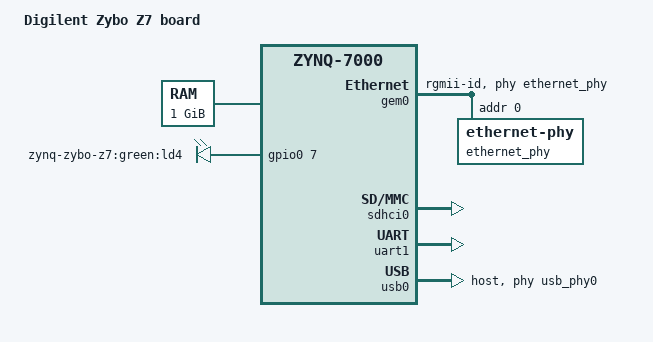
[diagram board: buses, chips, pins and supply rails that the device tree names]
// SPDX-License-Identifier: GPL-2.0+
/dts-v1/;
#include "zynq-7000.dtsi"
#include <dt-bindings/gpio/gpio.h>

/ {
	model = "Digilent Zybo Z7 board";
	compatible = "digilent,zynq-zybo-z7", "xlnx,zynq-7000";

	aliases {
		ethernet0 = &gem0;
		serial0 = &uart1;
	};

	memory@0 {
		device_type = "memory";
		reg = <0x0 0x40000000>;
	};

	chosen {
		bootargs = "earlycon";
		stdout-path = "serial0:115200n8";
	};

	gpio-leds {
		compatible = "gpio-leds";

		led-ld4 {
			label = "zynq-zybo-z7:green:ld4";
			gpios = <&gpio0 7 GPIO_ACTIVE_HIGH>;
		};
	};

	usb_phy0: phy0 {
		compatible = "ulpi-phy";
		#phy-cells = <0x0>;
		reg = <0xe0002000 0x1000>;
		view-port = <0x170>;
		drv-vbus;
	};
};

&clkc {
	ps-clk-frequency = <33333333>;
	fclk-enable = <0xf>;
};

&gem0 {
	status = "okay";
	phy-mode = "rgmii-id";
	phy-handle = <&ethernet_phy>;

	ethernet_phy: ethernet-phy@0 {
		reg = <0>;
		device_type = "ethernet-phy";
	};
};

&sdhci0 {
	status = "okay";
};

&uart1 {
	status = "okay";
	clock-frequency = <1843200>;
};

&usb0 {
	status = "okay";
	dr_mode = "host";
	usb-phy = <&usb_phy0>;
};
